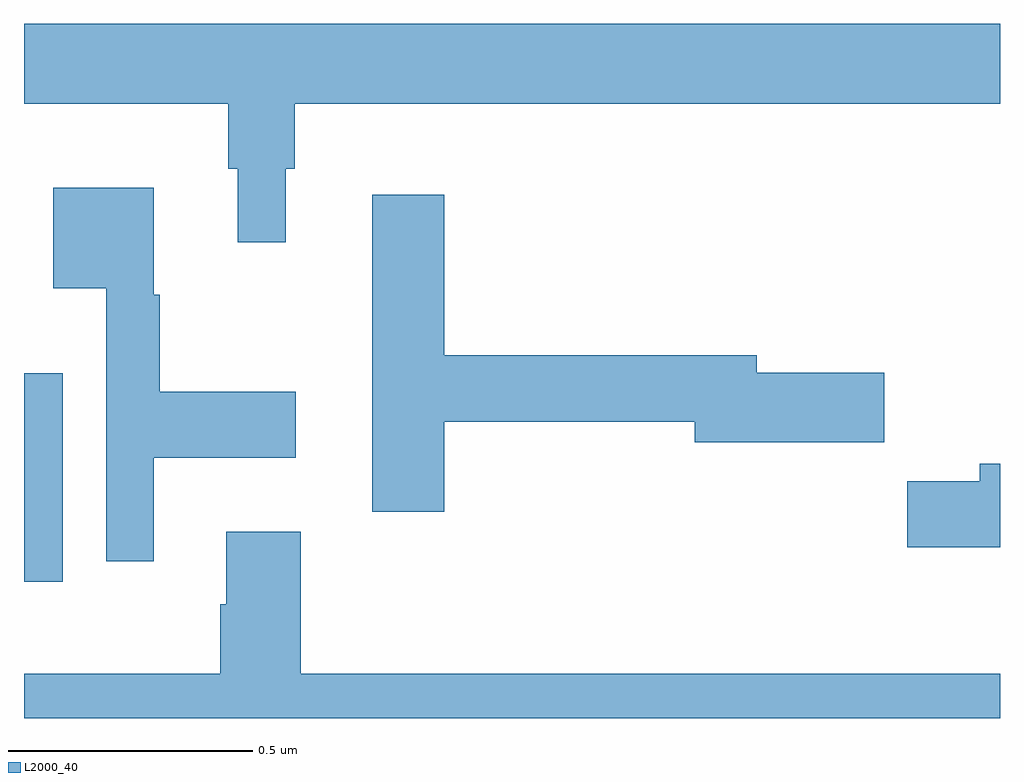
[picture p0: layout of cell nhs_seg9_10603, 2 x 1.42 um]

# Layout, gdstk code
import gdstk
lib = gdstk.Library(unit=1e-6, precision=1e-09)
def R(c, l, rs):  # rectangles x0, y0, x1, y1
    for r in rs: c.add(gdstk.rectangle(r[:2], r[2:], *l))
def P(c, l, *ps):  # polygons
    for p in ps: c.add(gdstk.Polygon(p, *l))
L2000_40 = (2000, 40)

nhs_seg9_10603 = lib.new_cell('nhs_seg9_10603')
R(nhs_seg9_10603, L2000_40, [(245,1188.78,245.079,1189.207)])
P(nhs_seg9_10603, L2000_40, [(245.536,1189.626),(245.555,1189.626),(245.555,1189.76),(247,1189.76),(247,1189.924),(245,1189.924),(245,1189.76),(245.419,1189.76),(245.419,1189.626),(245.438,1189.626),(245.438,1189.476),(245.536,1189.476)],
  [(245.266,1189.034),(245.557,1189.034),(245.557,1189.169),(245.278,1189.169),(245.278,1189.368),(245.266,1189.368),(245.266,1189.588),(245.06,1189.588),(245.06,1189.382),(245.169,1189.382),(245.169,1188.822),(245.266,1188.822)],
  [(245.861,1189.108),(246.374,1189.108),(246.374,1189.066),(246.763,1189.066),(246.763,1189.208),(246.502,1189.208),(246.502,1189.244),(245.861,1189.244),(245.861,1189.573),(245.714,1189.573),(245.714,1188.924),(245.861,1188.924)],
  [(247,1189.022),(246.959,1189.022),(246.959,1188.986),(246.81,1188.986),(246.81,1188.851),(247,1188.851)],
  [(245.567,1188.883),(245.414,1188.883),(245.414,1188.734),(245.402,1188.734),(245.402,1188.592),(245,1188.592),(245,1188.5),(247,1188.5),(247,1188.592),(245.567,1188.592)])

lib.write_gds('nhs_seg9_10603.gds')
